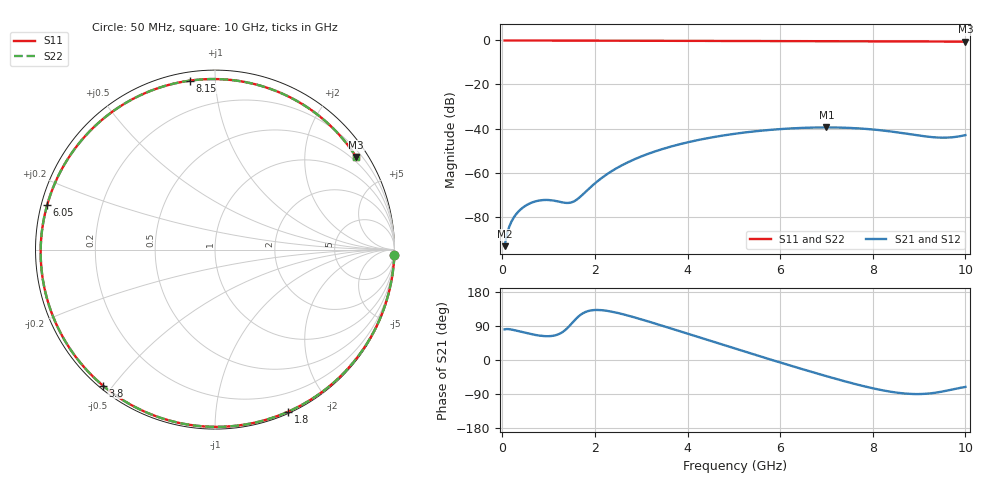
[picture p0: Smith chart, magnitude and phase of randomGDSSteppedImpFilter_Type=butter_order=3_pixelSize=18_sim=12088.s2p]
! freq	dB(S11)	phase(S11)	dB(S12)	phase(S12)
!  dB(S21)	phase(S21)	dB(S22)	phase(S22)
!S-par simulation data
#  GHz  S  DB  R 50
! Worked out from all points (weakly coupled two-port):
!   200 points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, 50 MHz to 10 GHz, reference 50 ohm
!   highest |S21| = -39.50 dB at 7 GHz (marker M1); lowest = -93.4 dB at 50 MHz (marker M2)
!   lowest |S11| = -0.5 dB at 10 GHz (marker M3), VSWR 32.71, Z = 18.4 + j165 ohm
!   |S11| at or under -10 dB: nowhere
!   |S22| runs from -0.5 to 0.0 dB; largest |S21 - S12| = 0
!   S11 on the Smith chart (normalised r, x): 50 MHz: 0, -62; 1.8 GHz: 0.02, -1.55; 3.8 GHz: 0.01, -0.47; 6.05 GHz: 0.02, +0.13; 8.15 GHz: 0.04, +0.86; 10 GHz: 0.37, +3.31
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0.05  -0.00 -1.9  -93.44 80.9  -93.44 80.9  -0.00 -1.9
0.25  -0.02 -9.4  -80.34 79.0  -80.34 79.0  -0.02 -9.4
0.45  -0.02 -16.9  -75.81 73.1  -75.81 73.1  -0.02 -16.9
0.7  -0.03 -26.3  -73.18 66.4  -73.18 66.4  -0.03 -26.3
1  -0.05 -37.4  -72.48 62.9  -72.48 62.9  -0.05 -37.4
1.45  -0.07 -53.6  -73.76 89.9  -73.76 89.9  -0.07 -53.6
1.75  -0.08 -64.1  -69.72 123.9  -69.72 123.9  -0.08 -64.1
1.8  -0.08 -65.8  -68.73 126.9  -68.73 126.9  -0.08 -65.8
2.5  -0.11 -89.2  -57.65 123.9  -57.65 123.9  -0.11 -89.2
3.4  -0.14 -117.5  -49.70 92.5  -49.70 92.5  -0.14 -117.5
3.8  -0.16 -129.5  -47.31 77.2  -47.31 77.2  -0.16 -129.5
4.45  -0.19 -148.5  -44.32 52.1  -44.32 52.1  -0.19 -148.5
5.05  -0.22 -165.8  -42.30 29.2  -42.30 29.2  -0.22 -165.8
6.05  -0.29 165.1  -40.19 -8.4  -40.19 -8.4  -0.29 165.1
6.7  -0.33 145.5  -39.57 -32.1  -39.57 -32.1  -0.33 145.5
7  -0.35 136.2  -39.50 -42.7  -39.50 -42.7  -0.35 136.2
7.6  -0.40 117.0  -39.83 -62.8  -39.83 -62.8  -0.40 117.0
8.15  -0.43 98.6  -40.75 -78.5  -40.75 -78.5  -0.43 98.6
8.35  -0.44 91.7  -41.24 -83.0  -41.24 -83.0  -0.44 91.7
9.15  -0.48 63.6  -43.61 -89.1  -43.61 -89.1  -0.48 63.6
9.6  -0.51 47.5  -44.13 -80.9  -44.13 -80.9  -0.51 47.5
10  -0.53 33.3  -43.01 -71.1  -43.01 -71.1  -0.53 33.3
